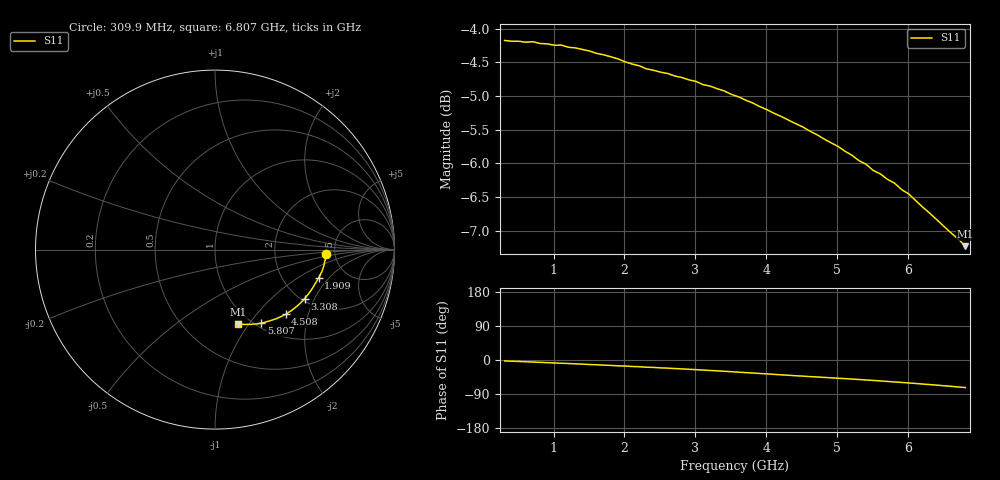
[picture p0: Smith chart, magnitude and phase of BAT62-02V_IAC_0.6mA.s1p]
! Infineon Technologies  Discrete & RF Semiconductors
! BAT62-02V
! IAC = 0.6 mA
! One-Port S-Parameters
# Hz  S  MA  R  50
!f  S11
!Hz  Mag  Ang
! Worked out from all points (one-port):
!   66 points, 309.9 MHz to 6.807 GHz, reference 50 ohm
!   lowest |S11| = -7.2 dB at 6.807 GHz (marker M1), VSWR 2.54, Z = 43.5 - j44.6 ohm
!   |S11| at or under -10 dB: nowhere
!   S11 on the Smith chart (normalised r, x): 309.9 MHz: 4.21, -0.35; 1.909 GHz: 3.14, -1.56; 3.308 GHz: 2.08, -1.68; 4.508 GHz: 1.44, -1.45; 5.807 GHz: 1.06, -1.14; 6.807 GHz: 0.87, -0.89
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3.0985e8  0.6183 -2.4
7.0965e8  0.617 -5.3
1.2094e9  0.6112 -9.3
1.30935e9  0.6105 -10.2
1.4093e9  0.6088 -10.9
1.50925e9  0.6072 -11.9
1.6092e9  0.6048 -12.5
1.70915e9  0.6033 -13.6
1.8091e9  0.6013 -14.3
1.90905e9  0.5991 -15.4
2.009e9  0.5962 -15.9
2.10895e9  0.5939 -17.1
2.2089e9  0.5921 -17.7
2.30885e9  0.589 -19.0
2.4088e9  0.5876 -19.6
2.50875e9  0.5857 -20.7
2.8086e9  0.5803 -23.5
3.30835e9  0.5693 -28.6
3.6082e9  0.5615 -32.1
4.008e9  0.5493 -36.7
4.4078e9  0.5365 -41.5
4.50775e9  0.5335 -42.4
4.8076e9  0.5227 -45.9
5.2074e9  0.5081 -50.3
5.8071e9  0.4844 -57.9
6.007e9  0.4756 -60.6
6.50675e9  0.4497 -68.0
6.8066e9  0.4349 -72.7
